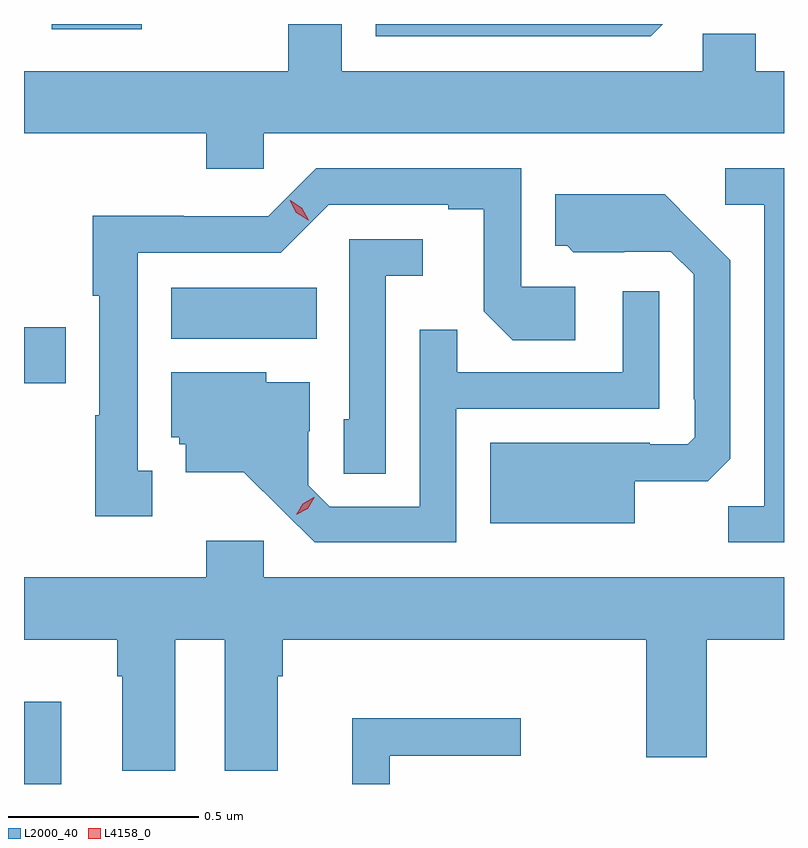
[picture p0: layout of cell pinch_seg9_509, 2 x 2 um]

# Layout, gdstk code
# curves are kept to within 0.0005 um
import gdstk
lib = gdstk.Library(unit=1e-6, precision=1e-09)
def R(c, l, rs):  # rectangles x0, y0, x1, y1
    for r in rs: c.add(gdstk.rectangle(r[:2], r[2:], *l))
def P(c, l, *ps):  # polygons
    for p in ps: c.add(gdstk.Polygon(p, *l))
L2000_40 = (2000, 40)
L4158_0 = (4158, 0)

pinch_seg9_509 = lib.new_cell('pinch_seg9_509')
R(pinch_seg9_509, L2000_40, [(294.383,1201.368,294.481,1201.585), (294.383,1202.423,294.493,1202.57), (294.77,1202.54,295.154,1202.674), (294.456,1203.354,294.693,1203.368)])
P(pinch_seg9_509, L2000_40, [(295.014,1203.08),(296.383,1203.08),(296.383,1203.244),(296.308,1203.244),(296.308,1203.342),(296.169,1203.342),(296.169,1203.244),(295.219,1203.244),(295.219,1203.368),(295.079,1203.368),(295.079,1203.244),(294.383,1203.244),(294.383,1203.08),(294.863,1203.08),(294.863,1202.987),(295.014,1202.987)],
  [(296.064,1203.368),(295.308,1203.368),(295.308,1203.336),(296.032,1203.336)],
  [(296.383,1202.988),(296.229,1202.988),(296.229,1202.892),(296.331,1202.892),(296.331,1202.099),(296.236,1202.099),(296.236,1202.004),(296.383,1202.004)],
  [(294.721,1202.193),(294.682,1202.193),(294.682,1202.766),(295.059,1202.766),(295.185,1202.892),(295.499,1202.892),(295.499,1202.88),(295.593,1202.88),(295.593,1202.612),(295.669,1202.536),(295.834,1202.536),(295.834,1202.676),(295.692,1202.676),(295.692,1202.988),(295.152,1202.988),(295.026,1202.862),(294.804,1202.862),(294.804,1202.864),(294.564,1202.864),(294.564,1202.653),(294.581,1202.653),(294.581,1202.339),(294.571,1202.339),(294.571,1202.073),(294.721,1202.073)],
  [(295.99,1202.165),(296.182,1202.165),(296.241,1202.224),(296.241,1202.746),(296.069,1202.92),(295.781,1202.92),(295.781,1202.784),(295.812,1202.784),(295.828,1202.768),(295.962,1202.768),(295.962,1202.769),(296.085,1202.769),(296.145,1202.709),(296.145,1202.38),(296.148,1202.38),(296.148,1202.28),(296.13,1202.262),(296.03,1202.262),(296.03,1202.266),(295.61,1202.266),(295.61,1202.054),(295.99,1202.054)],
  [(295.335,1202.705),(295.432,1202.705),(295.432,1202.802),(295.239,1202.802),(295.239,1202.328),(295.224,1202.328),(295.224,1202.185),(295.335,1202.185)],
  [(295.521,1202.355),(296.055,1202.355),(296.055,1202.665),(295.959,1202.665),(295.959,1202.451),(295.523,1202.451),(295.523,1202.564),(295.425,1202.564),(295.425,1202.097),(295.188,1202.097),(295.131,1202.154),(295.131,1202.296),(295.135,1202.296),(295.135,1202.425),(295.02,1202.425),(295.02,1202.452),(294.77,1202.452),(294.77,1202.28),(294.792,1202.28),(294.792,1202.262),(294.809,1202.262),(294.809,1202.189),(294.961,1202.189),(295.148,1202.004),(295.521,1202.004)],
  [(294.781,1201.748),(294.911,1201.748),(294.911,1201.403),(295.051,1201.403),(295.051,1201.652),(295.064,1201.652),(295.064,1201.748),(296.02,1201.748),(296.02,1201.439),(296.18,1201.439),(296.18,1201.748),(296.383,1201.748),(296.383,1201.912),(295.014,1201.912),(295.014,1202.008),(294.863,1202.008),(294.863,1201.912),(294.383,1201.912),(294.383,1201.748),(294.629,1201.748),(294.629,1201.652),(294.641,1201.652),(294.641,1201.403),(294.781,1201.403)],
  [(295.345,1201.443),(295.69,1201.443),(295.69,1201.541),(295.247,1201.541),(295.247,1201.368),(295.345,1201.368)])
P(pinch_seg9_509, L4158_0, [(295.1,1202.076),(295.1,1202.076),(295.116,1202.106),(295.146,1202.122),(295.147,1202.122),(295.147,1202.121),(295.13,1202.092),(295.1,1202.076)],
  [(295.131,1202.852),(295.1,1202.871),(295.082,1202.904),(295.082,1202.904),(295.083,1202.904),(295.114,1202.885),(295.132,1202.852),(295.132,1202.852)])

lib.write_gds('pinch_seg9_509.gds')
